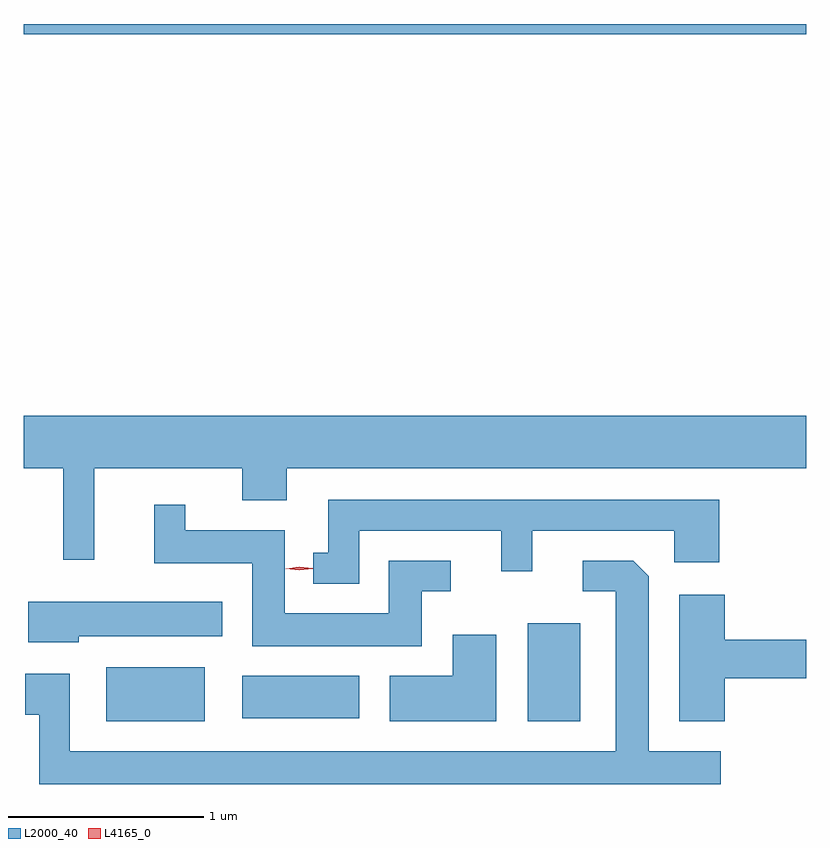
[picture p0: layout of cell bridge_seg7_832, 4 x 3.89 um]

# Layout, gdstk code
import gdstk
lib = gdstk.Library(unit=1e-6, precision=1e-09)
def R(c, l, rs):  # rectangles x0, y0, x1, y1
    for r in rs: c.add(gdstk.rectangle(r[:2], r[2:], *l))
def P(c, l, *ps):  # polygons
    for p in ps: c.add(gdstk.Polygon(p, *l))
L2000_40 = (2000, 40)
L4165_0 = (4165, 0)

bridge_seg7_832 = lib.new_cell('bridge_seg7_832')
R(bridge_seg7_832, L2000_40, [(317.416,1673.061,317.919,1673.339), (319.571,1673.061,319.839,1673.564), (318.111,1673.076,318.709,1673.294), (316.994,1676.576,320.994,1676.628)])
P(bridge_seg7_832, L2000_40, [(317.354,1674.356),(318.111,1674.356),(318.111,1674.191),(318.339,1674.191),(318.339,1674.356),(320.994,1674.356),(320.994,1674.624),(316.994,1674.624),(316.994,1674.356),(317.196,1674.356),(317.196,1673.888),(317.354,1673.888)],
  [(318.709,1674.036),(319.436,1674.036),(319.436,1673.828),(319.594,1673.828),(319.594,1674.036),(320.321,1674.036),(320.321,1673.876),(320.549,1673.876),(320.549,1674.194),(318.551,1674.194),(318.551,1673.924),(318.473,1673.924),(318.473,1673.766),(318.709,1673.766)],
  [(319.029,1673.726),(319.178,1673.726),(319.178,1673.884),(318.861,1673.884),(318.861,1673.614),(318.329,1673.614),(318.329,1674.039),(317.819,1674.039),(317.819,1674.168),(317.661,1674.168),(317.661,1673.871),(318.161,1673.871),(318.161,1673.446),(319.029,1673.446)],
  [(320.558,1672.909),(320.189,1672.909),(320.189,1673.804),(320.109,1673.884),(319.853,1673.884),(319.853,1673.726),(320.021,1673.726),(320.021,1672.909),(317.229,1672.909),(317.229,1673.304),(317.001,1673.304),(317.001,1673.096),(317.071,1673.096),(317.071,1672.741),(320.558,1672.741)],
  [(320.579,1673.281),(320.994,1673.281),(320.994,1673.479),(320.579,1673.479),(320.579,1673.709),(320.346,1673.709),(320.346,1673.061),(320.579,1673.061)],
  [(317.274,1673.496),(318.009,1673.496),(318.009,1673.674),(317.016,1673.674),(317.016,1673.466),(317.274,1673.466)],
  [(319.409,1673.504),(319.186,1673.504),(319.186,1673.294),(318.866,1673.294),(318.866,1673.061),(319.409,1673.061)])
P(bridge_seg7_832, L4165_0, [(318.401,1673.833),(318.332,1673.842),(318.332,1673.843),(318.332,1673.843),(318.401,1673.853),(318.471,1673.844),(318.471,1673.844),(318.471,1673.843)])

lib.write_gds('bridge_seg7_832.gds')
